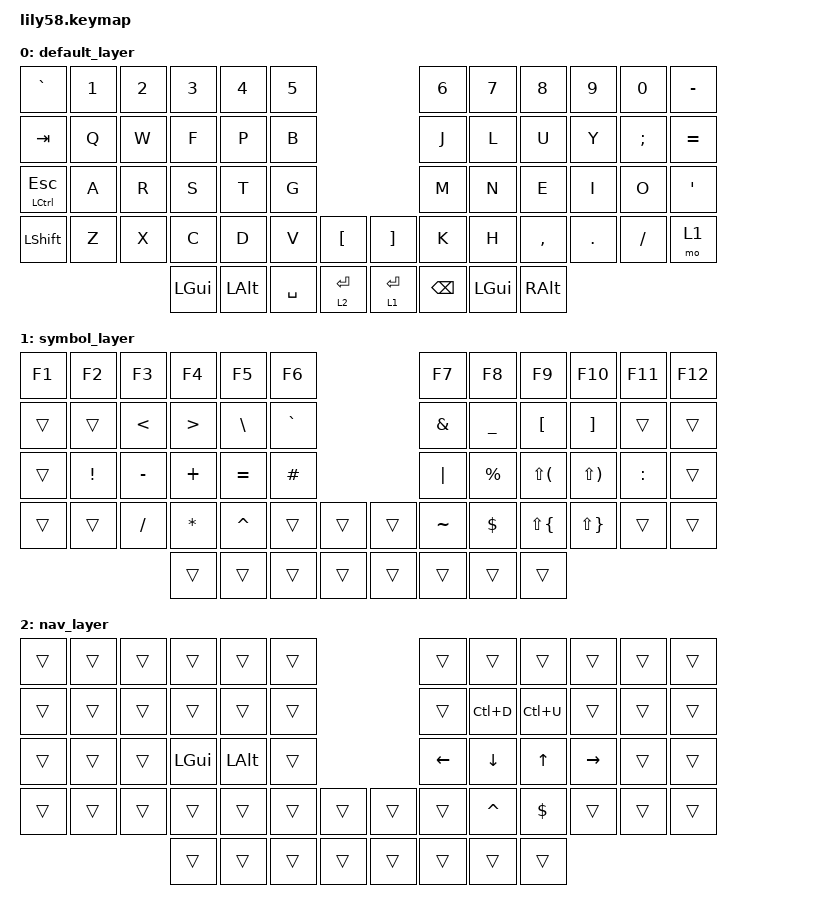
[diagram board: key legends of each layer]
/*
 * Copyright (c) 2020 The ZMK Contributors
 *
 * SPDX-License-Identifier: MIT
 */

#include <behaviors.dtsi>
#include <dt-bindings/zmk/keys.h>

&lt { flavor = "hold-preferred"; };

/ {
    combos { compatible = "zmk,combos"; };

    keymap {
        compatible = "zmk,keymap";

        default_layer {
            // ------------------------------------------------------------------------------------------------------------
            // |  ESC  |  1  |  2  |  3   |  4   |  5   |                   |  6   |  7    |  8    |  9   |   0   |   `   |
            // |  TAB  |  Q  |  W  |  E   |  R   |  T   |                   |  Y   |  U    |  I    |  O   |   P   |   -   |
            // |  CTRL |  A  |  S  |  D   |  F   |  G   |                   |  H   |  J    |  K    |  L   |   ;   |   '   |
            // | SHIFT |  Z  |  X  |  C   |  V   |  B   |   "["  |  |  "]"  |  N   |  M    |  ,    |  .   |   /   | SHIFT |
            //                     | ALT  | GUI  | LOWER|  SPACE |  | ENTER | RAISE| BSPC  | GUI   |

            bindings = <
&kp GRAVE         &kp N1  &kp N2  &kp N3        &kp N4    &kp N5                                 &kp N6         &kp N7        &kp N8         &kp N9   &kp N0    &kp MINUS
&kp TAB           &kp Q   &kp W   &kp F         &kp P     &kp B                                  &kp J          &kp L         &kp U          &kp Y    &kp SEMI  &kp EQUAL
&mt LCTRL ESCAPE  &kp A   &kp R   &kp S         &kp T     &kp G                                  &kp M          &kp N         &kp E          &kp I    &kp O     &kp SQT
&kp LEFT_SHIFT    &kp Z   &kp X   &kp C         &kp D     &kp V      &kp LBKT       &kp RBKT     &kp K          &kp H         &kp COMMA      &kp DOT  &kp FSLH  &mo 1
                                  &kp LEFT_GUI  &kp LALT  &kp SPACE  &lt 2 ENTER    &lt 1 ENTER  &kp BACKSPACE  &kp LEFT_GUI  &kp RIGHT_ALT
            >;
        };

        symbol_layer {
            bindings = <
&kp F1  &kp F2    &kp F3         &kp F4            &kp F5     &kp F6                       &kp F7     &kp F8       &kp F9        &kp F10       &kp F11    &kp F12
&trans  &trans    &kp LESS_THAN  &kp GREATER_THAN  &kp BSLH   &kp GRAVE                    &kp AMPS   &kp UNDER    &kp LBKT      &kp RBKT      &trans     &trans
&trans  &kp EXCL  &kp MINUS      &kp PLUS          &kp EQUAL  &kp HASH                     &kp PIPE   &kp PERCENT  &kp LS(LPAR)  &kp LS(RPAR)  &kp COLON  &trans
&trans  &trans    &kp FSLH       &kp STAR          &kp CARET  &trans     &trans    &trans  &kp TILDE  &kp DOLLAR   &kp LS(LBRC)  &kp LS(RBRC)  &trans     &trans
                                 &trans            &trans     &trans     &trans    &trans  &trans     &trans       &trans
            >;
        };

        nav_layer {
            bindings = <
&trans  &trans  &trans  &trans        &trans        &trans                    &trans    &trans     &trans      &trans     &trans  &trans
&trans  &trans  &trans  &trans        &trans        &trans                    &trans    &kp LC(D)  &kp LC(U)   &trans     &trans  &trans
&trans  &trans  &trans  &kp LEFT_GUI  &kp LEFT_ALT  &trans                    &kp LEFT  &kp DOWN   &kp UP      &kp RIGHT  &trans  &trans
&trans  &trans  &trans  &trans        &trans        &trans  &trans    &trans  &trans    &kp CARET  &kp DOLLAR  &trans     &trans  &trans
                        &trans        &trans        &trans  &trans    &trans  &trans    &trans     &trans
            >;
        };
    };
};
